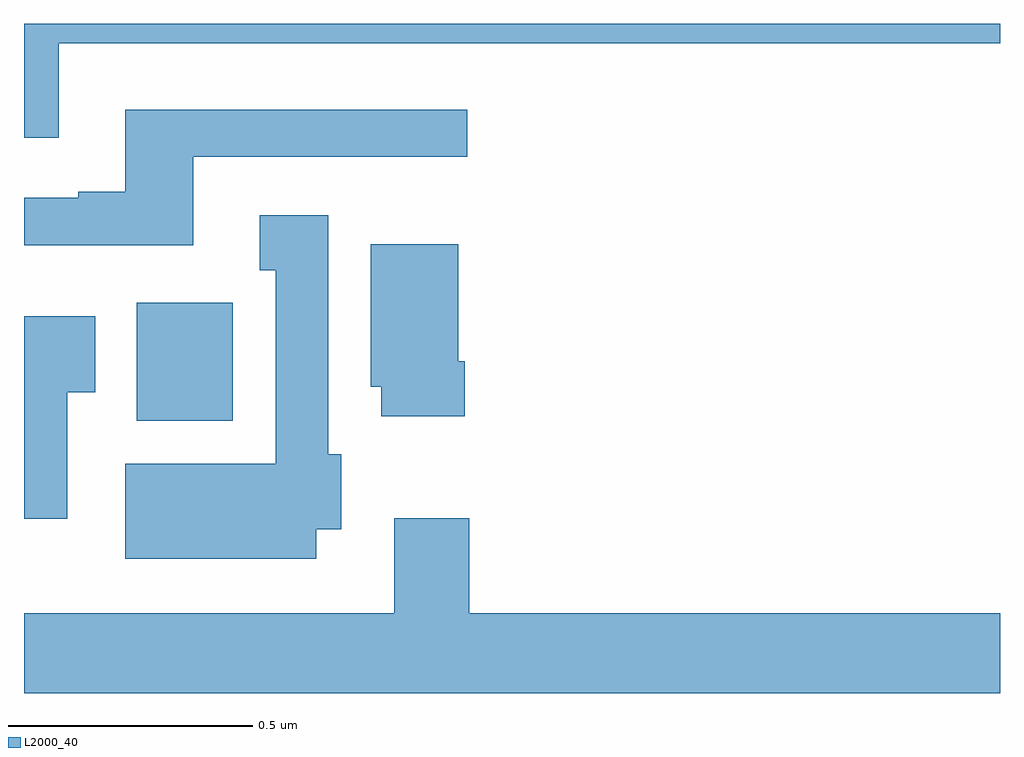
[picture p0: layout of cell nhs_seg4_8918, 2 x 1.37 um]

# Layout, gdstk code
import gdstk
lib = gdstk.Library(unit=1e-6, precision=1e-09)
def R(c, l, rs):  # rectangles x0, y0, x1, y1
    for r in rs: c.add(gdstk.rectangle(r[:2], r[2:], *l))
def P(c, l, *ps):  # polygons
    for p in ps: c.add(gdstk.Polygon(p, *l))
L2000_40 = (2000, 40)

nhs_seg4_8918 = lib.new_cell('nhs_seg4_8918')
R(nhs_seg4_8918, L2000_40, [(221.231,756.086,221.428,756.328)])
P(nhs_seg4_8918, L2000_40, [(221.071,756.86),(223,756.86),(223,756.9),(221,756.9),(221,756.666),(221.071,756.666)],
  [(221.347,756.627),(221.908,756.627),(221.908,756.724),(221.207,756.724),(221.207,756.556),(221.111,756.556),(221.111,756.543),(221,756.543),(221,756.446),(221.347,756.446)],
  [(221.599,755.864),(221.65,755.864),(221.65,756.018),(221.623,756.018),(221.623,756.508),(221.483,756.508),(221.483,756.395),(221.516,756.395),(221.516,755.998),(221.207,755.998),(221.207,755.804),(221.599,755.804)],
  [(221.903,756.208),(221.89,756.208),(221.89,756.448),(221.711,756.448),(221.711,756.156),(221.732,756.156),(221.732,756.096),(221.903,756.096)],
  [(221.089,756.145),(221.146,756.145),(221.146,756.301),(221,756.301),(221,755.886),(221.089,755.886)],
  [(223,755.692),(221.912,755.692),(221.912,755.887),(221.759,755.887),(221.759,755.692),(221,755.692),(221,755.528),(223,755.528)])

lib.write_gds('nhs_seg4_8918.gds')
